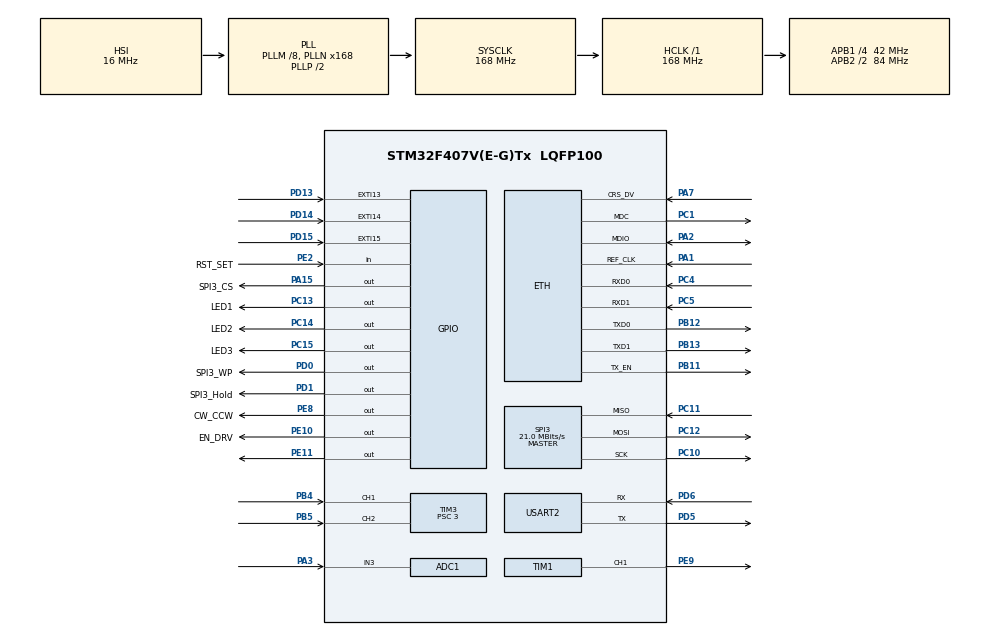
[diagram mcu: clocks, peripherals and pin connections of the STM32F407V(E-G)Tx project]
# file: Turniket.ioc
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ADC1.Channel-0\#ChannelRegularConversion=ADC_CHANNEL_3
ADC1.NbrOfConversionFlag=1
ADC1.Rank-0\#ChannelRegularConversion=1
ADC1.SamplingTime-0\#ChannelRegularConversion=ADC_SAMPLETIME_3CYCLES
ADC1.master=1
ETH.MediaInterface=HAL_ETH_RMII_MODE
FREERTOS.Tasks01=mainTask,0,512,MainTask,Default,NULL,Dynamic,NULL,NULL;Motor_pool,0,256,motor_pool,Default,NULL,Dynamic,NULL,NULL;NetTask,0,512,netTask,Default,NULL,Dynamic,NULL,NULL
FREERTOS.configTOTAL_HEAP_SIZE=60000
FREERTOS.configUSE_NEWLIB_REENTRANT=1
LWIP.BSP.number=1
LWIP.Version=v2.1.2_Cube
LWIP0.BSP.STBoard=false
LWIP0.BSP.api=BSP_COMPONENT_DRIVER
LWIP0.BSP.component=LAN8742
LWIP0.BSP.i2caddr=0
LWIP0.BSP.instance=LAN8742
LWIP0.BSP.name=Driver_PHY
LWIP0.BSP.semaphore=S_LAN8742
LWIP0.BSP.solution=LAN8742
Mcu.Family=STM32F4
Mcu.Name=STM32F407V(E-G)Tx
Mcu.Package=LQFP100
NVIC.ETH_IRQn=true\:5\:0\:false\:false\:true\:true\:false\:true\:true
NVIC.PriorityGroup=NVIC_PRIORITYGROUP_4
NVIC.TIM3_IRQn=true\:5\:0\:false\:false\:true\:true\:true\:true\:true
NVIC.TIM7_IRQn=true\:15\:0\:false\:false\:true\:false\:false\:true\:true
NVIC.TimeBase=TIM7_IRQn
NVIC.TimeBaseIP=TIM7
PA1.Mode=RMII
PA1.Signal=ETH_REF_CLK
PA13.Mode=Serial_Wire
PA13.Signal=SYS_JTMS-SWDIO
PA14.Mode=Serial_Wire
PA14.Signal=SYS_JTCK-SWCLK
PA15.GPIO_Label=SPI3_CS
PA15.Signal=GPIO_Output
PA2.Mode=RMII
PA2.Signal=ETH_MDIO
PA3.Signal=ADCx_IN3
PA7.Mode=RMII
PA7.Signal=ETH_CRS_DV
PB11.Mode=RMII
PB11.Signal=ETH_TX_EN
PB12.Mode=RMII
PB12.Signal=ETH_TXD0
PB13.Mode=RMII
PB13.Signal=ETH_TXD1
PB4.Signal=S_TIM3_CH1
PB5.Signal=S_TIM3_CH2
PC1.Mode=RMII
PC1.Signal=ETH_MDC
PC10.Mode=Full_Duplex_Master
PC10.Signal=SPI3_SCK
PC11.Mode=Full_Duplex_Master
PC11.Signal=SPI3_MISO
PC12.Mode=Full_Duplex_Master
PC12.Signal=SPI3_MOSI
PC13-ANTI_TAMP.GPIO_Label=LED1
PC13-ANTI_TAMP.Signal=GPIO_Output
PC14-OSC32_IN.GPIO_Label=LED2
PC14-OSC32_IN.Signal=GPIO_Output
PC15-OSC32_OUT.GPIO_Label=LED3
PC15-OSC32_OUT.Signal=GPIO_Output
PC4.Mode=RMII
PC4.Signal=ETH_RXD0
PC5.Mode=RMII
PC5.Signal=ETH_RXD1
PD0.GPIO_Label=SPI3_WP
PD0.Signal=GPIO_Output
PD1.GPIO_Label=SPI3_Hold
PD1.Signal=GPIO_Output
PD13.Signal=GPXTI13
PD14.Signal=GPXTI14
PD15.Signal=GPXTI15
PD5.Mode=Asynchronous
PD5.Signal=USART2_TX
PD6.Mode=Asynchronous
PD6.Signal=USART2_RX
PE10.GPIO_Label=EN_DRV
PE10.Signal=GPIO_Output
PE11.Signal=GPIO_Output
PE2.GPIO_Label=RST_SET
PE2.Signal=GPIO_Input
PE8.GPIO_Label=CW_CCW
PE8.Signal=GPIO_Output
PE9.Signal=S_TIM1_CH1
PH0-OSC_IN.Mode=HSE-External-Oscillator
PH0-OSC_IN.Signal=RCC_OSC_IN
PH1-OSC_OUT.Mode=HSE-External-Oscillator
PH1-OSC_OUT.Signal=RCC_OSC_OUT
ProjectManager.HeapSize=0x2000
ProjectManager.StackSize=0x4000
ProjectManager.TargetToolchain=STM32CubeIDE
RCC.48MHZClocksFreq_Value=84000000
RCC.AHBFreq_Value=168000000
RCC.APB1CLKDivider=RCC_HCLK_DIV4
RCC.APB1Freq_Value=42000000
RCC.APB1TimFreq_Value=84000000
RCC.APB2CLKDivider=RCC_HCLK_DIV2
RCC.APB2Freq_Value=84000000
RCC.APB2TimFreq_Value=168000000
RCC.CortexFreq_Value=168000000
RCC.HCLKFreq_Value=168000000
RCC.HSE_VALUE=12000000
RCC.HSI_VALUE=16000000
RCC.LSE_VALUE=32768
RCC.PLLM=8
RCC.PLLN=168
RCC.SYSCLKFreq_VALUE=168000000
RCC.SYSCLKSource=RCC_SYSCLKSOURCE_PLLCLK
RCC.VCOOutputFreq_Value=336000000
SH.ADCx_IN3.0=ADC1_IN3,IN3
SH.S_TIM1_CH1.0=TIM1_CH1,PWM Generation1 CH1
SH.S_TIM3_CH1.0=TIM3_CH1,Encoder_Interface
SH.S_TIM3_CH2.0=TIM3_CH2,Encoder_Interface
SPI3.CalculateBaudRate=21.0 MBits/s
SPI3.Direction=SPI_DIRECTION_2LINES
SPI3.Mode=SPI_MODE_MASTER
SPI3.VirtualType=VM_MASTER
TIM1.Channel-PWM\ Generation1\ CH1=TIM_CHANNEL_1
TIM1.Period=48000
TIM3.EncoderMode=TIM_ENCODERMODE_TI12
TIM3.IC1Prescaler=TIM_ICPSC_DIV4
TIM3.IC2Prescaler=TIM_ICPSC_DIV4
TIM3.Prescaler=3
USART2.VirtualMode=VM_ASYNC
VP_FREERTOS_VS_CMSIS_V1.Mode=CMSIS_V1
VP_LWIP_VS_Enabled.Mode=Enabled
VP_SYS_VS_tim7.Mode=TIM7
VP_TIM1_VS_ClockSourceINT.Mode=Internal
board=custom

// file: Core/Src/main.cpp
/* USER CODE BEGIN Header */
/**
  ******************************************************************************
  * @file           : main.c
  * @brief          : Main program body
  ******************************************************************************
  * @attention
  *
  * Copyright (c) 2022 STMicroelectronics.
  * All rights reserved.
  *
  * This software is licensed under terms that can be found in the LICENSE file
  * in the root directory of this software component.
  * If no LICENSE file comes with this software, it is provided AS-IS.
  *
  ******************************************************************************
  */
/* USER CODE END Header */
#include "main.h"
#include "cmsis_os.h"
#include "adc.h"
#include "lwip.h"
#include "spi.h"
#include "tim.h"
#include "usart.h"
#include "gpio.h"

/* USER CODE BEGIN Includes */
#include "motor.hpp"
#include "flash_spi.h"
#include "Delay_us_DWT.h"
#include "LED.h"
/* USER CODE END Includes */

/* USER CODE BEGIN PV */
settings_t settings = {115200, 0x0D, 0};
bool resetSettings = false;

extern_driver ext_drive(&hdac, DAC_CHANNEL_1, &htim3, &htim1, TIM_CHANNEL_1, &htim6);
//BLDC_motor BLDC(&htim8, &htim1, &htim2, &htim3);
led LED_rs485;
led LED_error;
led LED_OSstart;

base_motor *pMotor;
/* USER CODE END PV */

void SystemClock_Config(void);
void MX_FREERTOS_Init(void);

int main(void)
{

  /* MCU Configuration--------------------------------------------------------*/

  /* Reset of all peripherals, Initializes the Flash interface and the Systick. */
  HAL_Init();

  /* Configure the system clock */
  SystemClock_Config();

  /* Initialize all configured peripherals */
  MX_GPIO_Init();
  MX_ADC1_Init();
  MX_SPI3_Init();
  MX_TIM1_Init();
  MX_TIM3_Init();
  MX_USART2_UART_Init();
  /* USER CODE BEGIN 2 */
  DWT_Init();

    Flash_ReadParams(&settings, StartSettingsAddres);

    if((settings.BaudRate == 0) | (settings.BaudRate == 0xFFFFFFFF) | resetSettings)
      {
        resetSettings = false;
        settings.BaudRate = 115200;
        settings.SlaveAddress = 0x02;
        settings.motorType = 0;
        settings.Accel = 100;
        settings.Deaccel = 100;
        settings.CurrentStop = 200;
        settings.LowPWR = 1;
        FLASH_WriteSettings(settings, StartSettingsAddres);
      }
     //HAL_TIM_PWM_Start_IT(&htim17, TIM_CHANNEL_1); // start PWM
    //HAL_GPIO_WritePin(PWR_5V_GPIO_Port, PWR_5V_Pin, GPIO_PIN_SET);

     //HAL_TIM_OC_Start(&htim8, TIM_CHANNEL_4);

    //pMotor = &BLDC;
    pMotor = &ext_drive;

    HAL_Delay(500);
  /* USER CODE END 2 */

  /* Call init function for freertos objects (in freertos.c) */
  MX_FREERTOS_Init();

  /* Start scheduler */
  osKernelStart();

  /* We should never get here as control is now taken by the scheduler */
  /* Infinite loop */
  while (1)
  {

  }
}

void SystemClock_Config(void)
{
  RCC_OscInitTypeDef RCC_OscInitStruct = {0};
  RCC_ClkInitTypeDef RCC_ClkInitStruct = {0};

  /** Configure the main internal regulator output voltage
  */
  __HAL_RCC_PWR_CLK_ENABLE();
  __HAL_PWR_VOLTAGESCALING_CONFIG(PWR_REGULATOR_VOLTAGE_SCALE1);

  /** Initializes the RCC Oscillators according to the specified parameters
  * in the RCC_OscInitTypeDef structure.
  */
  RCC_OscInitStruct.OscillatorType = RCC_OSCILLATORTYPE_HSI;
  RCC_OscInitStruct.HSIState = RCC_HSI_ON;
  RCC_OscInitStruct.HSICalibrationValue = RCC_HSICALIBRATION_DEFAULT;
  RCC_OscInitStruct.PLL.PLLState = RCC_PLL_ON;
  RCC_OscInitStruct.PLL.PLLSource = RCC_PLLSOURCE_HSI;
  RCC_OscInitStruct.PLL.PLLM = 8;
  RCC_OscInitStruct.PLL.PLLN = 168;
  RCC_OscInitStruct.PLL.PLLP = RCC_PLLP_DIV2;
  RCC_OscInitStruct.PLL.PLLQ = 4;
  if (HAL_RCC_OscConfig(&RCC_OscInitStruct) != HAL_OK)
  {
    Error_Handler();
  }

  /** Initializes the CPU, AHB and APB buses clocks
  */
  RCC_ClkInitStruct.ClockType = RCC_CLOCKTYPE_HCLK|RCC_CLOCKTYPE_SYSCLK
                              |RCC_CLOCKTYPE_PCLK1|RCC_CLOCKTYPE_PCLK2;
  RCC_ClkInitStruct.SYSCLKSource = RCC_SYSCLKSOURCE_PLLCLK;
  RCC_ClkInitStruct.AHBCLKDivider = RCC_SYSCLK_DIV1;
  RCC_ClkInitStruct.APB1CLKDivider = RCC_HCLK_DIV4;
  RCC_ClkInitStruct.APB2CLKDivider = RCC_HCLK_DIV2;

  if (HAL_RCC_ClockConfig(&RCC_ClkInitStruct, FLASH_LATENCY_5) != HAL_OK)
  {
    Error_Handler();
  }
}

/* USER CODE BEGIN 4 */
void HAL_TIM_IC_CaptureCallback(TIM_HandleTypeDef *htim){
  if(htim->Instance == TIM2){
    pMotor->SensHandler();
  }
    if(htim->Instance == TIM3){
    pMotor->StepsAllHandler(__HAL_TIM_GET_COUNTER(htim));
  }
}
void ledBlink(){
  LED_rs485.LEDon(0);
}
/* USER CODE END 4 */

void HAL_TIM_PeriodElapsedCallback(TIM_HandleTypeDef *htim)
{
  if (htim->Instance == TIM7) {
    HAL_IncTick();
  }
}

void Error_Handler(void)
{
  __disable_irq();
  while (1)
  {
  }
}
